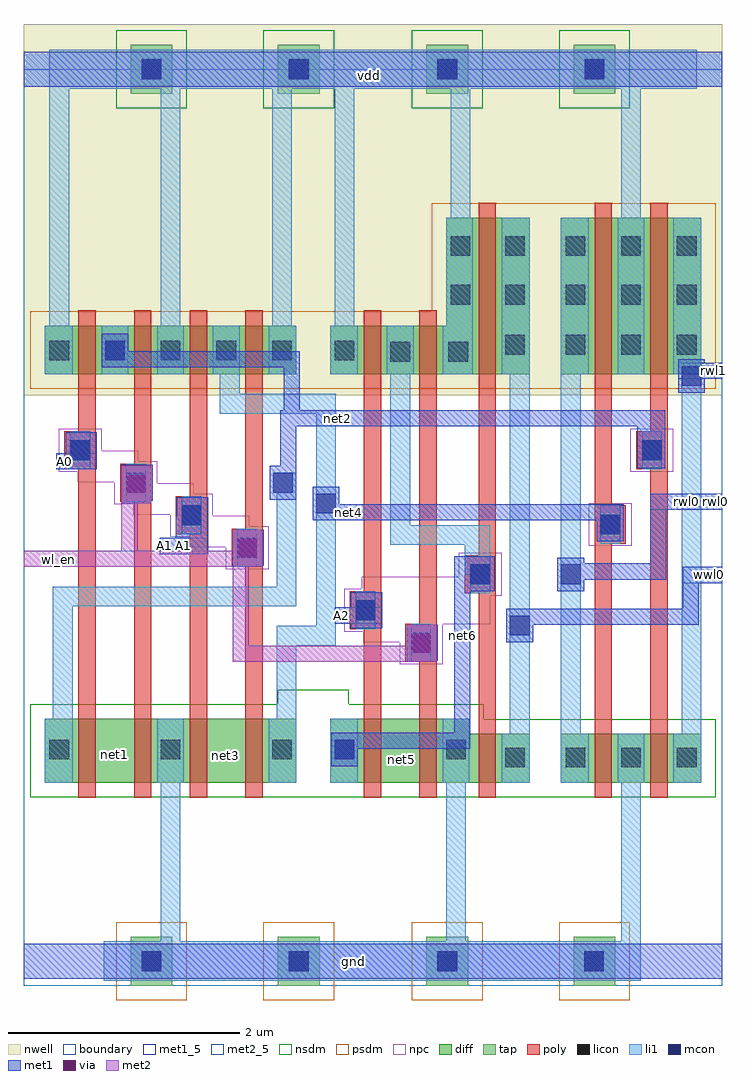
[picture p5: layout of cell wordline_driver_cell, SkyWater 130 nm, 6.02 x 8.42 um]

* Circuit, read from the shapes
.subckt wordline_driver_cell A0 A1 A2 gnd net1 net2 net3 net4 net5 net6 rwl0 rwl1 vdd wl_en wwl0
XM1 net1 A0 net2 gnd sky130_fd_pr__nfet_01v8 w=0.55 l=0.15
XM2 gnd wl_en net1 gnd sky130_fd_pr__nfet_01v8 w=0.55 l=0.15
XM3 net3 A1 gnd gnd sky130_fd_pr__nfet_01v8 w=0.55 l=0.15
XM4 net4 wl_en net3 gnd sky130_fd_pr__nfet_01v8 w=0.55 l=0.15
XM5 net5 A2 net6 gnd sky130_fd_pr__nfet_01v8 w=0.55 l=0.15
XM6 gnd wl_en net5 gnd sky130_fd_pr__nfet_01v8 w=0.55 l=0.15
XM7 wwl0 net6 gnd gnd sky130_fd_pr__nfet_01v8 w=0.42 l=0.15
XM8 gnd net4 rwl0 gnd sky130_fd_pr__nfet_01v8 w=0.42 l=0.15
XM9 rwl1 net2 gnd gnd sky130_fd_pr__nfet_01v8 w=0.42 l=0.15
XM10 net2 A0 vdd vdd sky130_fd_pr__pfet_01v8 w=0.42 l=0.15
XM11 vdd wl_en net2 vdd sky130_fd_pr__pfet_01v8 w=0.42 l=0.15
XM12 net4 A1 vdd vdd sky130_fd_pr__pfet_01v8 w=0.42 l=0.15
XM13 vdd wl_en net4 vdd sky130_fd_pr__pfet_01v8 w=0.42 l=0.15
XM14 net6 A2 vdd vdd sky130_fd_pr__pfet_01v8 w=0.42 l=0.15
XM15 vdd wl_en net6 vdd sky130_fd_pr__pfet_01v8 w=0.42 l=0.15
XM16 wwl0 net6 vdd vdd sky130_fd_pr__pfet_01v8 w=1.35 l=0.15
XM17 vdd net4 rwl0 vdd sky130_fd_pr__pfet_01v8 w=1.35 l=0.15
XM18 rwl1 net2 vdd vdd sky130_fd_pr__pfet_01v8 w=1.35 l=0.15
.ends

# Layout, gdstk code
import gdstk
lib = gdstk.Library(unit=1e-6, precision=1e-09)
def R(c, l, rs):  # rectangles x0, y0, x1, y1
    for r in rs: c.add(gdstk.rectangle(r[:2], r[2:], *l))
def A(c, l, x, y, w, h, nx, ny, dx, dy):  # array of equal rectangles
    R(c, l, [(x+i*dx, y+j*dy, x+i*dx+w, y+j*dy+h) for i in range(nx) for j in range(ny)])
nwell = (64, 20)
diff = (65, 20)
tap = (65, 44)
poly = (66, 20)
licon = (66, 44)
li1 = (67, 20)
mcon = (67, 44)
met1_5 = (68, 5)
met1 = (68, 20)
via = (68, 44)
met2_5 = (69, 5)
met2 = (69, 20)
nsdm = (93, 44)
psdm = (94, 20)
npc = (95, 20)
boundary = (235, 4)

wordline_driver_cell = lib.new_cell('wordline_driver_cell')
R(wordline_driver_cell, nwell, [(0,4.88,6.02,8.08)])
R(wordline_driver_cell, diff, [(0.18,1.54,2.35,2.09), (2.64,1.54,4.36,1.96), (4.63,1.54,5.84,1.96), (2.64,1.96,3.84,2.09), (0.18,5.06,2.35,5.48), (2.64,5.06,4.36,5.48), (4.63,5.06,5.84,6.41), (3.64,5.48,4.36,6.41)])
R(wordline_driver_cell, tap, [(0.92,-0.21,1.28,0.21), (2.19,-0.21,2.55,0.21), (3.47,-0.21,3.83,0.21), (4.74,-0.21,5.1,0.21), (0.92,7.48,1.28,7.9), (2.19,7.48,2.55,7.9), (3.47,7.48,3.83,7.9), (4.74,7.48,5.1,7.9)])
R(wordline_driver_cell, poly, [(0.47,1.41,0.62,4.24), (0.95,1.41,1.1,3.96), (1.43,1.41,1.58,3.68), (1.91,1.41,2.06,3.4), (2.93,1.41,3.08,2.86), (3.41,1.41,3.56,2.58), (3.92,1.41,4.07,3.17), (4.92,1.41,5.07,3.6), (5.4,1.41,5.55,4.24), (3.29,2.58,3.56,2.91), (2.81,2.86,3.08,3.19), (3.41,2.91,3.56,5.61), (3.8,3.17,4.07,3.5), (2.93,3.19,3.08,5.61), (1.79,3.4,2.06,3.73), (3.92,3.5,4.07,6.54), (4.92,3.6,5.19,3.93), (1.31,3.68,1.58,4.01), (1.91,3.73,2.06,5.61), (4.92,3.93,5.07,6.54), (0.83,3.96,1.1,4.29), (1.43,4.01,1.58,5.61), (0.35,4.24,0.62,4.57), (5.28,4.24,5.55,4.57), (0.95,4.29,1.1,5.61), (0.47,4.57,0.62,5.61), (5.4,4.57,5.55,6.54)])
A(wordline_driver_cell, licon, 4.67, 1.67, 0.17, 0.17, 3, 2, 0.48, 3.56)
A(wordline_driver_cell, licon, 0.22, 1.74, 0.17, 0.17, 3, 1, 0.96, 0)
A(wordline_driver_cell, licon, 0.22, 5.18, 0.17, 0.17, 5, 1, 0.48, 0)
A(wordline_driver_cell, licon, 4.67, 5.66, 0.17, 0.17, 3, 2, 0.48, 0.42)
R(wordline_driver_cell, licon, [(1.015,-0.085,1.185,0.085), (2.285,-0.085,2.455,0.085), (3.565,-0.085,3.735,0.085), (4.83,-0.085,5,0.085), (4.15,1.67,4.32,1.84), (2.68,1.74,2.85,1.91), (3.64,1.74,3.81,1.91), (3.34,2.66,3.51,2.83), (2.86,2.94,3.03,3.11), (3.85,3.25,4.02,3.42), (1.84,3.48,2.01,3.65), (4.97,3.68,5.14,3.85), (1.36,3.76,1.53,3.93), (0.88,4.04,1.05,4.21), (0.4,4.32,0.57,4.49), (5.33,4.32,5.5,4.49), (3.16,5.17,3.33,5.34), (3.66,5.17,3.83,5.34), (2.68,5.18,2.85,5.35), (4.15,5.23,4.32,5.4), (3.68,5.66,3.85,5.83), (4.15,5.66,4.32,5.83), (3.68,6.08,3.85,6.25), (4.15,6.08,4.32,6.25), (1.015,7.605,1.185,7.775), (2.285,7.605,2.455,7.775), (3.565,7.605,3.735,7.775), (4.835,7.605,5.005,7.775)])
A(wordline_driver_cell, li1, 0.67, 5.06, 0.23, 0.42, 3, 1, 0.48, 0)
A(wordline_driver_cell, li1, 0.22, 5.48, 0.17, 2.04, 3, 1, 0.96, 0)
R(wordline_driver_cell, li1, [(0.69,-0.17,5.32,0.17), (1.18,0.17,1.35,1.54), (3.64,0.17,3.81,1.54), (5.15,0.17,5.32,1.54), (0.18,1.54,0.42,2.09), (1.15,1.54,1.38,2.09), (2.11,1.54,2.35,2.09), (2.64,1.54,2.88,2.09), (3.61,1.54,3.84,2.09), (4.12,1.54,4.36,1.96), (4.63,1.54,4.87,1.96), (5.12,1.54,5.35,1.96), (5.6,1.54,5.84,1.96), (4.19,1.96,4.36,5.06), (4.63,1.96,4.8,5.06), (5.67,1.96,5.84,5.06), (0.25,2.09,0.42,3.06), (2.18,2.09,2.35,2.72), (3.34,2.58,3.51,2.91), (2.18,2.72,2.69,2.89), (2.86,2.86,3.03,3.19), (2.52,2.89,2.69,4.72), (0.25,3.06,2.35,3.23), (3.85,3.17,4.02,3.33), (2.18,3.23,2.35,4.04), (3.8,3.33,4.02,3.59), (1.84,3.4,2.01,3.73), (3.16,3.59,4.02,3.76), (4.97,3.6,5.14,3.93), (1.36,3.68,1.53,4.01), (3.16,3.76,3.33,5.06), (0.88,3.96,1.05,4.29), (2.15,4.04,2.35,4.21), (0.4,4.24,0.57,4.57), (5.33,4.24,5.5,4.57), (1.69,4.72,2.69,4.89), (1.69,4.89,1.86,5.06), (0.18,5.06,0.42,5.48), (2.11,5.06,2.35,5.48), (2.64,5.06,2.88,5.48), (3.13,5.06,3.36,5.48), (3.61,5.06,3.87,5.48), (4.12,5.06,4.36,6.41), (4.63,5.06,4.87,6.41), (5.12,5.06,5.35,6.41), (5.6,5.06,5.84,6.41), (2.68,5.48,2.85,7.52), (3.64,5.48,3.87,6.41), (3.68,6.41,3.85,7.52), (5.15,6.41,5.32,7.52), (0.22,7.52,5.8,7.86)])
R(wordline_driver_cell, mcon, [(1.015,-0.085,1.185,0.085), (2.285,-0.085,2.455,0.085), (3.565,-0.085,3.735,0.085), (4.83,-0.085,5,0.085), (2.68,1.74,2.85,1.91), (3.34,2.66,3.51,2.83), (4.19,2.81,4.36,2.98), (2.86,2.94,3.03,3.11), (3.85,3.25,4.02,3.42), (4.63,3.25,4.8,3.42), (1.84,3.48,2.01,3.65), (4.97,3.68,5.14,3.85), (1.36,3.76,1.53,3.93), (2.52,3.86,2.69,4.03), (0.88,4.04,1.05,4.21), (2.15,4.04,2.32,4.21), (0.4,4.32,0.57,4.49), (5.33,4.32,5.5,4.49), (5.67,4.96,5.84,5.13), (0.7,5.18,0.87,5.35), (1.015,7.605,1.185,7.775), (2.285,7.605,2.455,7.775), (3.565,7.605,3.735,7.775), (4.835,7.605,5.005,7.775)])
R(wordline_driver_cell, met1_5, [(0,-0.15,6.02,0.15), (2.68,2.91,3.09,3.05), (5.68,3.26,6.02,3.4), (1.17,3.51,1.59,3.65), (5.4,3.89,6.02,4.03), (0.28,4.24,0.63,4.38), (5.64,5.02,6.02,5.16), (0,7.54,6.02,7.84)])
R(wordline_driver_cell, met1, [(0,-0.15,6.02,0.15), (0,-0.15,6.02,0.15), (2.65,1.68,2.88,1.83), (2.65,1.83,3.85,1.97), (3.71,1.97,3.85,3.19), (3.3,2.58,3.56,2.59), (3.3,2.59,3.57,2.9), (4.16,2.75,4.39,2.9), (2.82,2.87,3.09,2.91), (4.16,2.9,5.82,3.04), (2.68,2.91,3.09,3.05), (2.68,2.91,3.09,3.05), (5.68,3.04,5.82,3.26), (2.82,3.05,3.09,3.18), (3.71,3.19,4.06,3.49), (4.6,3.19,4.83,3.29), (5.68,3.26,6.02,3.4), (5.68,3.26,6.02,3.4), (4.6,3.29,5.54,3.43), (1.8,3.4,2.06,3.41), (1.8,3.41,2.07,3.72), (4.6,3.43,4.83,3.48), (5.4,3.43,5.54,3.89), (1.17,3.51,1.59,3.65), (1.17,3.51,1.59,3.65), (4.94,3.62,5.17,3.8), (1.31,3.65,1.59,3.83), (2.49,3.8,5.17,3.94), (1.32,3.83,1.59,4), (5.4,3.89,6.02,4.03), (5.4,3.89,6.02,4.03), (2.49,3.94,2.72,4.09), (0.84,3.95,1.1,3.97), (0.84,3.97,1.11,4.28), (2.12,3.98,2.35,4.27), (0.28,4.24,0.63,4.38), (0.28,4.24,0.63,4.38), (5.29,4.25,5.53,4.61), (2.21,4.27,2.35,4.61), (0.36,4.38,0.63,4.56), (2.21,4.61,5.53,4.75), (2.24,4.75,2.38,5.12), (5.64,4.9,5.87,5.02), (5.64,5.02,6.02,5.16), (5.64,5.02,6.02,5.16), (0.67,5.12,2.38,5.26), (5.64,5.16,5.87,5.19), (0.67,5.26,0.9,5.41), (0,7.54,6.02,7.84), (0,7.54,6.02,7.84)])
R(wordline_driver_cell, via, [(3.355,2.665,3.505,2.815), (1.855,3.485,2.005,3.635), (0.895,4.035,1.045,4.185)])
R(wordline_driver_cell, met2_5, [(0,3.4,2.06,3.54)])
R(wordline_driver_cell, met2, [(1.8,2.58,3.56,2.72), (1.8,2.72,1.94,3.4), (3.3,2.72,3.56,2.9), (0,3.4,2.06,3.54), (0,3.4,2.06,3.54), (0.84,3.54,0.98,3.95), (1.8,3.54,2.06,3.72), (0.84,3.95,1.1,4.27)])
R(wordline_driver_cell, nsdm, [(0.055,1.415,5.965,2.085), (0.055,2.085,3.965,2.215), (2.19,2.215,2.8,2.34), (0.795,7.355,1.405,8.025), (2.065,7.355,2.675,8.025), (3.345,7.355,3.955,8.025), (4.615,7.355,5.225,8.025)])
R(wordline_driver_cell, psdm, [(0.795,-0.335,1.405,0.335), (2.065,-0.335,2.675,0.335), (3.345,-0.335,3.955,0.335), (4.615,-0.335,5.225,0.335), (0.055,4.935,5.965,5.605), (3.515,5.605,5.965,6.535)])
R(wordline_driver_cell, npc, [(3.24,2.56,3.61,2.75), (2.925,2.75,3.61,2.84), (2.76,2.84,3.61,2.905), (2.76,2.905,4.02,3.15), (2.76,3.15,4.12,3.21), (2.915,3.21,4.12,3.315), (3.75,3.315,4.12,3.52), (1.74,3.38,2.11,3.57), (1.425,3.57,2.11,3.66), (4.87,3.58,5.24,3.95), (1.26,3.66,2.11,3.75), (1.26,3.75,1.945,3.84), (1.26,3.84,1.63,3.85), (0.945,3.85,1.63,3.94), (0.78,3.94,1.63,4.03), (0.78,4.03,1.465,4.12), (0.78,4.12,1.15,4.13), (0.465,4.13,1.15,4.22), (0.3,4.22,1.15,4.31), (5.23,4.22,5.6,4.59), (0.3,4.31,0.985,4.4), (0.3,4.4,0.67,4.59)])
R(wordline_driver_cell, boundary, [(0,-0.21,6.02,7.69)])
wordline_driver_cell.add(gdstk.Label('net1', (0.78,1.78), layer=65, texttype=20))
wordline_driver_cell.add(gdstk.Label('net3', (1.74,1.77), layer=65, texttype=20))
wordline_driver_cell.add(gdstk.Label('net5', (3.26,1.74), layer=65, texttype=20))
wordline_driver_cell.add(gdstk.Label('net6', (3.78,2.81), layer=68, texttype=16))
wordline_driver_cell.add(gdstk.Label('net2', (2.7,4.68), layer=68, texttype=16))
wordline_driver_cell.add(gdstk.Label('net4', (2.8,3.87), layer=68, texttype=16))
wordline_driver_cell.add(gdstk.Label('A0', (0.35,4.31), layer=68, texttype=5))
wordline_driver_cell.add(gdstk.Label('vdd', (2.98,7.64), layer=68, texttype=5))
wordline_driver_cell.add(gdstk.Label('gnd', (2.84,0), layer=68, texttype=5))
wordline_driver_cell.add(gdstk.Label('wl_en', (0.3,3.46), layer=69, texttype=5))
wordline_driver_cell.add(gdstk.Label('A1', (1.21,3.58), layer=68, texttype=5))
wordline_driver_cell.add(gdstk.Label('A2', (2.74,2.98), layer=68, texttype=5))
wordline_driver_cell.add(gdstk.Label('rwl0', (5.96,3.96), layer=68, texttype=5))
wordline_driver_cell.add(gdstk.Label('wwl0', (5.91,3.33), layer=68, texttype=5))
wordline_driver_cell.add(gdstk.Label('rwl1', (5.95,5.09), layer=68, texttype=5))
wordline_driver_cell.add(gdstk.Label('A0', (0.455,4.31), layer=68, texttype=20))
wordline_driver_cell.add(gdstk.Label('A1', (1.38,3.58), layer=68, texttype=20))
wordline_driver_cell.add(gdstk.Label('A2', (2.885,2.98), layer=68, texttype=20))
wordline_driver_cell.add(gdstk.Label('wl_en', (1.03,3.47), layer=69, texttype=20))
wordline_driver_cell.add(gdstk.Label('rwl0', (5.71,3.96), layer=68, texttype=20))
wordline_driver_cell.add(gdstk.Label('rwl1', (5.83,5.09), layer=68, texttype=20))
wordline_driver_cell.add(gdstk.Label('wwl0', (5.85,3.33), layer=68, texttype=20))
wordline_driver_cell.add(gdstk.Label('vdd', (3.01,7.69), layer=68, texttype=20))
wordline_driver_cell.add(gdstk.Label('gnd', (3.01,0), layer=68, texttype=20))

lib.write_gds('wordline_driver_cell.gds')
